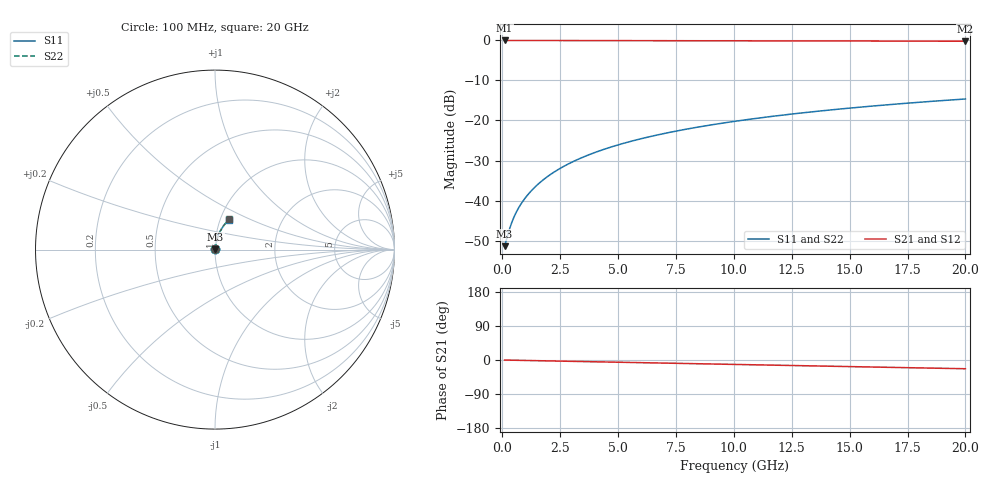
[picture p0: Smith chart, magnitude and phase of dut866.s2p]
! Touchstone file exported from HFSS 2026.1.0
!  File:  C:/ffzhzh/LocalFiles/Ansys_Project_Files/temp_train_BSMRDL_866_1783170819_18472.aedt
!  Generated:  09:14:50 PM Jul  4, 2026
!  Design:  BSMRDL
!  Project:  temp_train_BSMRDL_866_1783170819_18472
! Variables:
!  h_bsmrdl = 2.36um
!  h_ox = 20um
!  h_rdl = 5um
!  h_sub = 80um
!  h_tmrdl = 5um
!  h_tsv = 80um
!  h_via = 3um
!  l_bsmrdl = 333.55um
!  l_sub = 733.55um
!  l_tmrdl = 200um
!  m_sub = 200um
!  pitch = 40.1um
!  r_tsv = 6um
!  s_tmrdl = 10um
!  w_bsmrdl = 23.99um
!  w_sub = 500um
!  w_tmrdl = 12um
!  x_tsv_center1 = 206um
!  x_tsv_center2 = 563.54um
!  x_tsv_center3 = 775.54um
!  x_tsv_center4 = 1133.08um
!  x_tsv_center5 = 1345.08um
!  x_tsv_center6 = 1702.62um
# GHz S MA R 50.000000
! Terminal data exported
! Port[1] = BSM_RDL1_1_T1
! Port[2] = BSM_RDL1_1_T2
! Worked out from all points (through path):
!   200 points, 100 MHz to 20 GHz, reference 50 ohm
!   highest |S21| = -0.02 dB at 100 MHz (marker M1); lowest = -0.2 dB at 20 GHz (marker M2)
!   group delay of S21, straight-line fit = 3.2 ps
!   lowest |S11| = -51.4 dB at 100 MHz (marker M3), VSWR 1.01, Z = 50.2 + j0.117 ohm
!   |S11| at or under -10 dB: start of sweep to end of sweep
!   |S22| runs from -51.4 to -14.6 dB; largest |S21 - S12| = 6.4e-15
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0.1  0.0027 25.6  0.9976 -0.1  0.9976 -0.1  0.0027 25.6
! Gamma 0 0 0 0
! Port Impedance 50 0 50 0
0.3  0.004307 52.1  0.9974 -0.4  0.9974 -0.4  0.004307 52.1
0.4  0.005247 58.0  0.9972 -0.5  0.9972 -0.5  0.005247 58.0
0.5  0.006193 61.9  0.9971 -0.6  0.9971 -0.6  0.006193 61.9
0.6  0.007136 64.8  0.997 -0.7  0.997 -0.7  0.007135 64.8
0.7  0.008073 67.0  0.9969 -0.9  0.9969 -0.9  0.008072 67.0
0.9  0.009944 70.3  0.9968 -1.1  0.9968 -1.1  0.009943 70.3
1.2  0.01276 73.6  0.9966 -1.4  0.9966 -1.4  0.01276 73.6
1.4  0.01466 75.1  0.9966 -1.7  0.9966 -1.7  0.01466 75.1
1.7  0.01753 76.7  0.9965 -2.0  0.9965 -2.0  0.01753 76.7
2.2  0.02235 78.4  0.9963 -2.6  0.9963 -2.6  0.02235 78.4
2.8  0.02818 79.3  0.996 -3.3  0.996 -3.3  0.02818 79.4
3.5  0.035 79.8  0.9957 -4.1  0.9957 -4.1  0.035 79.8
4.2  0.04182 79.8  0.9953 -5.0  0.9953 -5.0  0.04182 79.8
5  0.0496 79.5  0.9948 -5.9  0.9948 -5.9  0.04959 79.5
5.9  0.05831 78.9  0.9942 -7.0  0.9942 -7.0  0.05831 79.0
6.8  0.06698 78.2  0.9934 -8.0  0.9934 -8.0  0.06698 78.3
8.3  0.08129 76.9  0.992 -9.8  0.992 -9.8  0.08129 76.9
10.1  0.09823 75.1  0.99 -11.8  0.99 -11.8  0.09822 75.2
13.4  0.1285 71.6  0.9856 -15.6  0.9856 -15.6  0.1285 71.7
16.7  0.1577 68.1  0.9806 -19.4  0.9806 -19.4  0.1576 68.2
20  0.1856 64.5  0.975 -23.1  0.975 -23.1  0.1856 64.6
